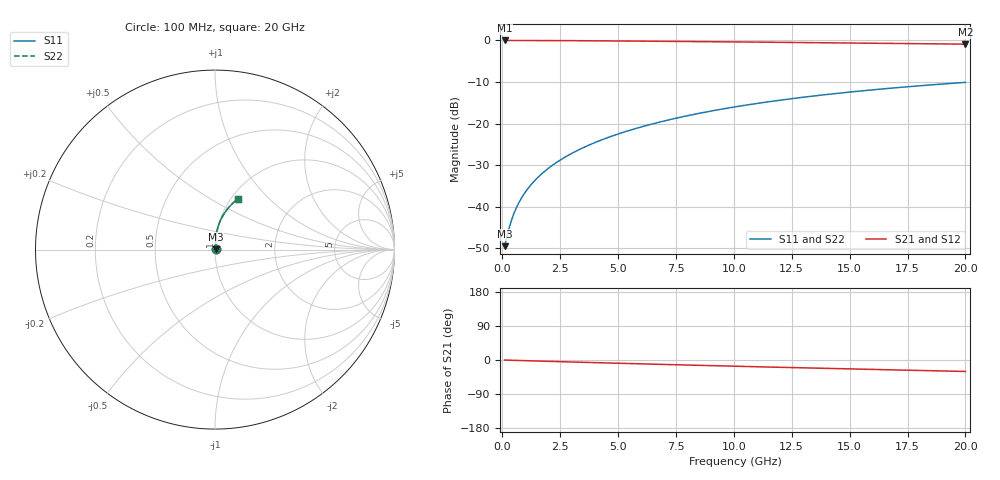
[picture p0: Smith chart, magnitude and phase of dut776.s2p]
! Touchstone file exported from HFSS 2024.1.0
!  File:  C:/UserFiles/LocalFiles/RDL_TSV_Batchsim/temp_RDL_bottom_776_1779860860.aedt
!  Generated:  01:50:30 PM May 27, 2026
!  Design:  RDL_bottom
!  Project:  temp_RDL_bottom_776_1779860860
!  Setup:  Setup1
!  Solution:  Sweep
! Variables:
!  dtsv = 10.80580581um
!  hbump = 3um
!  htsv = 55.44um
!  ldown = 394.3um
!  lrdl = 100um
!  p = 40
!  p1 = 50.3um
!  rhole = 1um
!  t = 450um
!  tdown = 2.39um
!  trdl = 3.915915916um
!  wdown = 21.94um
!  wrdl = 20um
# GHz S MA R 50.000000
! Terminal data exported
! Port[1] = RDL1_T1
! Port[2] = RDL1_T2
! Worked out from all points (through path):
!   200 points, 100 MHz to 20 GHz, reference 50 ohm
!   highest |S21| = -0.03 dB at 100 MHz (marker M1); lowest = -0.9 dB at 20 GHz (marker M2)
!   group delay of S21, straight-line fit = 4.17 ps
!   lowest |S11| = -49.5 dB at 100 MHz (marker M3), VSWR 1.01, Z = 50.3 + j0.159 ohm
!   |S11| at or under -10 dB: start of sweep to end of sweep
!   |S22| runs from -49.5 to -10.1 dB; largest |S21 - S12| = 4.3e-15
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0.1  0.003366 27.9  0.997 -0.2  0.997 -0.2  0.003366 27.9
! Gamma 0 0 0 0
! Port Impedance 50 0 50 0
0.3  0.00561 55.9  0.9968 -0.6  0.9968 -0.6  0.00561 55.9
0.4  0.006936 62.1  0.9966 -0.7  0.9966 -0.7  0.006936 62.1
0.5  0.008285 66.1  0.9965 -0.9  0.9965 -0.9  0.008285 66.1
0.6  0.009641 69.1  0.9963 -1.1  0.9963 -1.1  0.009642 69.1
0.8  0.01236 73.2  0.996 -1.4  0.996 -1.4  0.01236 73.2
1  0.0151 75.9  0.9957 -1.8  0.9957 -1.8  0.0151 75.9
1.2  0.01786 77.9  0.9954 -2.1  0.9954 -2.1  0.01786 77.9
1.4  0.02065 79.4  0.9951 -2.5  0.9951 -2.5  0.02065 79.4
1.7  0.02488 81.1  0.9945 -3.0  0.9945 -3.0  0.02488 81.1
2.2  0.03206 82.9  0.9934 -3.9  0.9934 -3.9  0.03206 82.9
2.8  0.04088 84.2  0.9917 -4.9  0.9917 -4.9  0.04088 84.2
3.5  0.05142 84.9  0.9894 -6.1  0.9894 -6.1  0.05142 84.9
4.2  0.06225 85.2  0.9867 -7.3  0.9867 -7.3  0.06225 85.2
5  0.07492 85.1  0.9834 -8.6  0.9834 -8.6  0.07492 85.1
5.9  0.0895 84.7  0.9792 -10.1  0.9792 -10.1  0.0895 84.7
6.8  0.1043 83.9  0.9748 -11.5  0.9748 -11.5  0.1043 83.9
8.4  0.1311 82.2  0.9665 -14.0  0.9665 -14.0  0.1311 82.2
10.1  0.1596 79.9  0.9574 -16.5  0.9574 -16.5  0.1596 79.9
13.4  0.2138 75.1  0.9388 -21.3  0.9388 -21.3  0.2138 75.1
16.7  0.265 70.2  0.9196 -25.9  0.9196 -25.9  0.265 70.2
20  0.3126 65.4  0.8998 -30.2  0.8998 -30.2  0.3126 65.4
